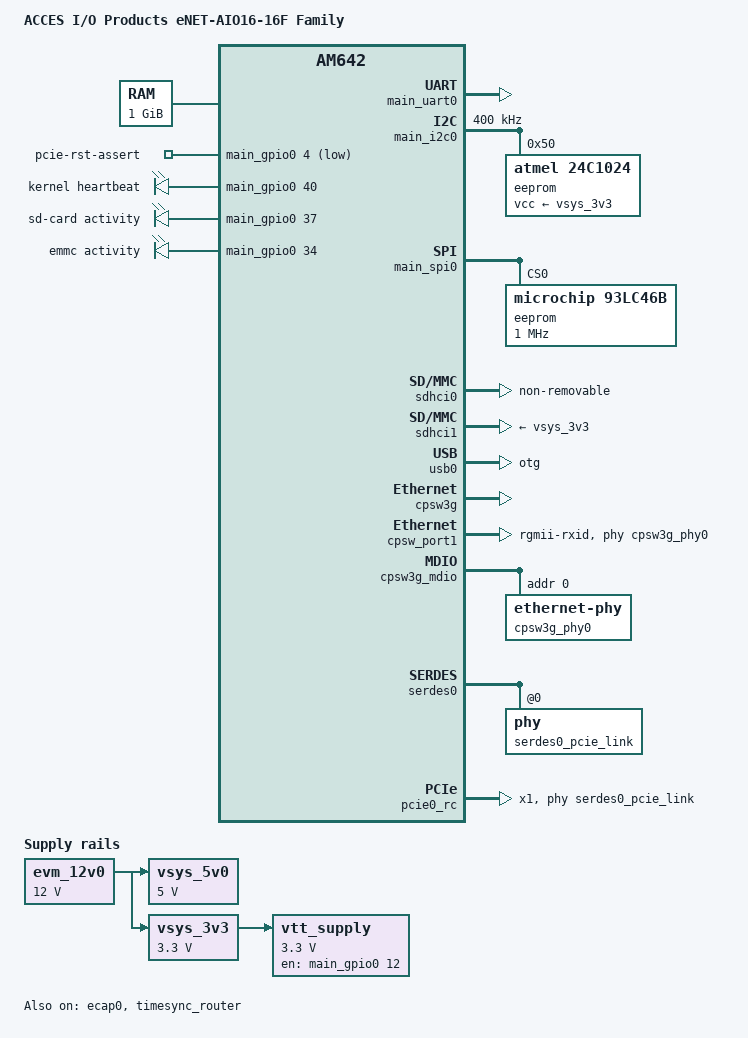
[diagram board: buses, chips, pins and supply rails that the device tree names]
// SPDX-License-Identifier: GPL-2.0-only OR MIT
/*
 * Copyright (C) 2020-2024 Texas Instruments Incorporated - https://www.ti.com/
 */

/dts-v1/;

#include <dt-bindings/gpio/gpio.h>
#include <dt-bindings/leds/common.h>
#include <dt-bindings/phy/phy.h>
#include "k3-am642.dtsi"

#include "k3-serdes.h"
#include "k3-timesync-router.h"

/ {
	compatible = "ti,am642-evm", "ti,am642";
	model = "ACCES I/O Products eNET-AIO16-16F Family";

	chosen {
		stdout-path = &main_uart0;
	};

	aliases {
		serial0 = &mcu_uart0;
		serial1 = &main_uart1;
		serial2 = &main_uart0;
		serial3 = &main_uart3;
		i2c0 = &main_i2c0;
		mmc0 = &sdhci0;
		mmc1 = &sdhci1;
		ethernet0 = &cpsw_port1;
	};

	memory@80000000 {
		bootph-all;
		device_type = "memory";
		/* One AS4C512M16D4: 512M x 16 bits = 1 GiB. */
		reg = <0x00000000 0x80000000 0x00000000 0x40000000>;
	};

	reserved_memory: reserved-memory {
		#address-cells = <2>;
		#size-cells = <2>;
		ranges;

		secure_ddr: optee@9e800000 {
			reg = <0x00 0x9e800000 0x00 0x01800000>;
			alignment = <0x1000>;
			no-map;
		};
	};

	evm_12v0: regulator-0 {
		bootph-all;
		compatible = "regulator-fixed";
		regulator-name = "evm_12v0";
		regulator-min-microvolt = <12000000>;
		regulator-max-microvolt = <12000000>;
		regulator-always-on;
		regulator-boot-on;
	};

	vsys_5v0: regulator-1 {
		compatible = "regulator-fixed";
		regulator-name = "vsys_5v0";
		regulator-min-microvolt = <5000000>;
		regulator-max-microvolt = <5000000>;
		vin-supply = <&evm_12v0>;
		regulator-always-on;
		regulator-boot-on;
	};

	vsys_3v3: regulator-2 {
		bootph-all;
		compatible = "regulator-fixed";
		regulator-name = "vsys_3v3";
		regulator-min-microvolt = <3300000>;
		regulator-max-microvolt = <3300000>;
		vin-supply = <&evm_12v0>;
		regulator-always-on;
		regulator-boot-on;
	};

	vtt_supply: regulator-5 {
		bootph-all;
		compatible = "regulator-fixed";
		regulator-name = "vtt";
		pinctrl-names = "default";
		pinctrl-0 = <&ddr_vtt_pins_default>;
		regulator-min-microvolt = <3300000>;
		regulator-max-microvolt = <3300000>;
		gpio = <&main_gpio0 12 GPIO_ACTIVE_HIGH>;
		enable-active-high;
		vin-supply = <&vsys_3v3>;
		regulator-always-on;
		regulator-boot-on;
	};

	/* Experimental manual PCIe reset control. This consumes OSPI0_D1. */
	pcie_rst_test_gpio {
		compatible = "gpio-leds";
		pinctrl-names = "default";
		pinctrl-0 = <&pcie_rst_test_pins_default>;

		pcie_rst_assert {
			label = "pcie-rst-assert";
			gpios = <&main_gpio0 4 (GPIO_ACTIVE_LOW | GPIO_OPEN_DRAIN)>;
			default-state = "on";
		};
	};

	leds {
		compatible = "gpio-leds";
		pinctrl-names = "default";
		pinctrl-0 = <&user_leds_pins_default>;

		led-0 {
			label = "kernel heartbeat";
			gpios = <&main_gpio0 40 GPIO_ACTIVE_HIGH>;
			linux,default-trigger = "heartbeat";
			function = LED_FUNCTION_HEARTBEAT;
			default-state = "off";
		};

		led-1 {
			label = "sd-card activity";
			gpios = <&main_gpio0 37 GPIO_ACTIVE_HIGH>;
			linux,default-trigger = "mmc1";
			function = LED_FUNCTION_SD;
			default-state = "off";
		};

		led-2 {
			label = "emmc activity";
			gpios = <&main_gpio0 34 GPIO_ACTIVE_HIGH>;
			linux,default-trigger = "mmc0";
			function = LED_FUNCTION_DISK_ACTIVITY;
			default-state = "off";
		};
	};

};

&main_pmx0 {
	pcie_rst_test_pins_default: pcie-rst-test-default-pins {
		pinctrl-single,pins = <
			AM64X_IOPAD(0x0010, PIN_INPUT_PULLUP, 7) /* (M18) OSPI0_D1.GPIO0_4 */
		>;
	};

	main_mmc1_pins_default: main-mmc1-default-pins {
		pinctrl-single,pins = <
			AM64X_IOPAD(0x0294, PIN_INPUT_PULLUP, 0) /* (J19) MMC1_CMD */
			AM64X_IOPAD(0x028c, PIN_INPUT_PULLDOWN, 0) /* (L20) MMC1_CLK */
			AM64X_IOPAD(0x0288, PIN_INPUT_PULLUP, 0) /* (K21) MMC1_DAT0 */
			AM64X_IOPAD(0x0284, PIN_INPUT_PULLUP, 0) /* (L21) MMC1_DAT1 */
			AM64X_IOPAD(0x0280, PIN_INPUT_PULLUP, 0) /* (K19) MMC1_DAT2 */
			AM64X_IOPAD(0x027c, PIN_INPUT_PULLUP, 0) /* (K18) MMC1_DAT3 */
			AM64X_IOPAD(0x0298, PIN_INPUT_PULLUP, 0) /* (D19) MMC1_SDCD */
			AM64X_IOPAD(0x029c, PIN_INPUT, 0) /* (C20) MMC1_SDWP */
			AM64X_IOPAD(0x0290, PIN_INPUT, 0) /* MMC1_CLKLB */
		>;
	};

	main_uart1_pins_default: main-uart1-default-pins {
		pinctrl-single,pins = <
			AM64X_IOPAD(0x0248, PIN_INPUT, 0) /* (D16) UART1_CTSn */
			AM64X_IOPAD(0x024c, PIN_OUTPUT, 0) /* (E16) UART1_RTSn */
			AM64X_IOPAD(0x0240, PIN_INPUT, 0) /* (E15) UART1_RXD */
			AM64X_IOPAD(0x0244, PIN_OUTPUT, 0) /* (E14) UART1_TXD */
		>;
	};

	main_uart0_pins_default: main-uart0-default-pins {
		bootph-all;
		pinctrl-single,pins = <
			AM64X_IOPAD(0x0238, PIN_INPUT, 0) /* (B16) UART0_CTSn */
			AM64X_IOPAD(0x023c, PIN_OUTPUT, 0) /* (A16) UART0_RTSn */
			AM64X_IOPAD(0x0230, PIN_INPUT, 0) /* (D15) UART0_RXD */
			AM64X_IOPAD(0x0234, PIN_OUTPUT, 0) /* (C16) UART0_TXD */
		>;
	};

	main_spi0_pins_default: main-spi0-default-pins {
		pinctrl-single,pins = <
			AM64X_IOPAD(0x0210, PIN_INPUT, 0) /* (D13) SPI0_CLK */
			AM64X_IOPAD(0x0208, PIN_OUTPUT, 0) /* (D12) SPI0_CS0 */
			AM64X_IOPAD(0x0214, PIN_OUTPUT, 0) /* (A13) SPI0_D0 */
			AM64X_IOPAD(0x0218, PIN_INPUT, 0) /* (A14) SPI0_D1 */
		>;
	};

	main_i2c0_pins_default: main-i2c0-default-pins {
		bootph-all;
		pinctrl-single,pins = <
			AM64X_IOPAD(0x0260, PIN_INPUT_PULLUP, 0) /* (A18) I2C0_SCL */
			AM64X_IOPAD(0x0264, PIN_INPUT_PULLUP, 0) /* (B18) I2C0_SDA */
		>;
	};

	mdio1_pins_default: mdio1-default-pins {
		bootph-all;
		pinctrl-single,pins = <
			AM64X_IOPAD(0x01fc, PIN_OUTPUT, 4) /* (R2) PRG0_PRU1_GPO19.MDIO0_MDC */
			AM64X_IOPAD(0x01f8, PIN_INPUT, 4) /* (P5) PRG0_PRU1_GPO18.MDIO0_MDIO */
		>;
	};

	rgmii1_pins_default: rgmii1-default-pins {
		bootph-all;
		pinctrl-single,pins = <
			AM64X_IOPAD(0x01cc, PIN_INPUT, 4) /* (W5) PRG0_PRU1_GPO7.RGMII1_RD0 */
			AM64X_IOPAD(0x01d4, PIN_INPUT, 4) /* (Y5) PRG0_PRU1_GPO9.RGMII1_RD1 */
			AM64X_IOPAD(0x01d8, PIN_INPUT, 4) /* (V6) PRG0_PRU1_GPO10.RGMII1_RD2 */
			AM64X_IOPAD(0x01f4, PIN_INPUT, 4) /* (V5) PRG0_PRU1_GPO17.RGMII1_RD3 */
			AM64X_IOPAD(0x0188, PIN_INPUT, 4) /* (AA5) PRG0_PRU0_GPO10.RGMII1_RXC */
			AM64X_IOPAD(0x0184, PIN_INPUT, 4) /* (W6) PRG0_PRU0_GPO9.RGMII1_RX_CTL */
			AM64X_IOPAD(0x0124, PIN_OUTPUT, 4) /* (V15) PRG1_PRU1_GPO7.RGMII1_TD0 */
			AM64X_IOPAD(0x012c, PIN_OUTPUT, 4) /* (V14) PRG1_PRU1_GPO9.RGMII1_TD1 */
			AM64X_IOPAD(0x0130, PIN_OUTPUT, 4) /* (W14) PRG1_PRU1_GPO10.RGMII1_TD2 */
			AM64X_IOPAD(0x014c, PIN_OUTPUT, 4) /* (AA14) PRG1_PRU1_GPO17.RGMII1_TD3 */
			AM64X_IOPAD(0x00e0, PIN_OUTPUT, 4) /* (U14) PRG1_PRU0_GPO10.RGMII1_TXC */
			AM64X_IOPAD(0x00dc, PIN_OUTPUT, 4) /* (U15) PRG1_PRU0_GPO9.RGMII1_TX_CTL */
		>;
	};

	main_usb0_pins_default: main-usb0-default-pins {
		bootph-all;
		pinctrl-single,pins = <
			AM64X_IOPAD(0x02a8, PIN_OUTPUT, 0) /* (E19) USB0_DRVVBUS */
		>;
	};

	ospi0_pins_default: ospi0-default-pins {
		bootph-all;
		pinctrl-single,pins = <
			AM64X_IOPAD(0x0000, PIN_OUTPUT, 0) /* (N20) OSPI0_CLK */
			AM64X_IOPAD(0x002c, PIN_OUTPUT, 0) /* (L19) OSPI0_CSn0 */
			AM64X_IOPAD(0x000c, PIN_INPUT, 0) /* (M19) OSPI0_D0 */
			AM64X_IOPAD(0x0010, PIN_INPUT, 0) /* (M18) OSPI0_D1 */
			AM64X_IOPAD(0x0014, PIN_INPUT, 0) /* (M20) OSPI0_D2 */
			AM64X_IOPAD(0x0018, PIN_INPUT, 0) /* (M21) OSPI0_D3 */
			AM64X_IOPAD(0x001c, PIN_INPUT, 0) /* (P21) OSPI0_D4 */
			AM64X_IOPAD(0x0020, PIN_INPUT, 0) /* (P20) OSPI0_D5 */
			AM64X_IOPAD(0x0024, PIN_INPUT, 0) /* (N18) OSPI0_D6 */
			AM64X_IOPAD(0x0028, PIN_INPUT, 0) /* (M17) OSPI0_D7 */
			AM64X_IOPAD(0x0008, PIN_INPUT, 0) /* (N19) OSPI0_DQS */
		>;
	};

	main_ecap0_pins_default: main-ecap0-default-pins {
		pinctrl-single,pins = <
			AM64X_IOPAD(0x0270, PIN_INPUT, 0) /* (D18) ECAP0_IN_APWM_OUT */
		>;
	};

	ddr_vtt_pins_default: ddr-vtt-default-pins {
		bootph-all;
		pinctrl-single,pins = <
			AM64X_IOPAD(0x0030, PIN_OUTPUT_PULLUP, 7) /* (L18) OSPI0_CSN1.GPIO0_12 */
		>;
	};

	user_leds_pins_default: user-leds-default-pins {
		pinctrl-single,pins = <
			AM64X_IOPAD(0x008c, PIN_OUTPUT, 7) /* (T21) GPMC0_WEn.GPIO0_34 */
			AM64X_IOPAD(0x0098, PIN_OUTPUT, 7) /* (W19) GPMC0_WAIT0.GPIO0_37 */
			AM64X_IOPAD(0x00a4, PIN_OUTPUT, 7) /* (N17) GPMC0_DIR.GPIO0_40 */
		>;
	};

};

&fss {
	bootph-all;
};

&main_uart0 {
	bootph-all;
	status = "okay";
	pinctrl-names = "default";
	pinctrl-0 = <&main_uart0_pins_default>;
};

/* UART1 is reserved for board-specific firmware use. */
&main_uart1 {
	status = "reserved";
	pinctrl-names = "default";
	pinctrl-0 = <&main_uart1_pins_default>;
};

&main_i2c0 {
	bootph-all;
	status = "okay";
	pinctrl-names = "default";
	pinctrl-0 = <&main_i2c0_pins_default>;
	clock-frequency = <400000>;

	eeprom@50 {
		compatible = "atmel,24c1024";
		reg = <0x50>;
		vcc-supply = <&vsys_3v3>;
	};
};

&main_i2c1 {
	status = "disabled";
};

&main_gpio0 {
	bootph-all;
	status = "okay";
};

/* MCU-domain GPIO is unused. */
&mcu_gpio0 {
	status = "disabled";
};

&mcu_gpio_intr {
	status = "disabled";
};

&main_spi0 {
	status = "okay";
	pinctrl-names = "default";
	pinctrl-0 = <&main_spi0_pins_default>;
	ti,pindir-d0-out-d1-in;

	eeprom@0 {
		compatible = "microchip,93lc46b";
		reg = <0>;
		spi-max-frequency = <1000000>;
		spi-cs-high;
		data-size = <16>;
	};
};

/* eMMC */
&sdhci0 {
	bootph-all;
	status = "okay";
	non-removable;
	ti,driver-strength-ohm = <50>;
};

&main_r5fss0 {
	status = "disabled";
};

&main_r5fss1 {
	status = "disabled";
};
&icssg0 {
	status = "disabled";
};

&icssg1 {
	status = "disabled";
};

/* SD card */
&sdhci1 {
	bootph-all;
	status = "okay";
	vmmc-supply = <&vsys_3v3>;
	pinctrl-names = "default";
	pinctrl-0 = <&main_mmc1_pins_default>;
	disable-wp;
};

&usbss0 {
	bootph-all;
	ti,vbus-divider;
	ti,usb2-only;
};

&usb0 {
	bootph-all;
	dr_mode = "otg";
	maximum-speed = "high-speed";
	pinctrl-names = "default";
	pinctrl-0 = <&main_usb0_pins_default>;
};

&cpsw3g {
	bootph-all;
	status = "okay";
	pinctrl-names = "default";
	pinctrl-0 = <&rgmii1_pins_default>;

	/* Map HW8_TS_PUSH to GENF1. */
	cpts@3d000 {
		ti,pps = <7 1>;
	};
};

&cpsw_port1 {
	bootph-all;
	phy-mode = "rgmii-rxid";
	phy-handle = <&cpsw3g_phy0>;
	status = "okay";
};

&cpsw3g_mdio {
	bootph-all;
	status = "okay";
	pinctrl-names = "default";
	pinctrl-0 = <&mdio1_pins_default>;

	cpsw3g_phy0: ethernet-phy@0 {
		bootph-all;
		reg = <0>;
	};
};

&tscadc0 {
	status = "disabled";
};

/* Disabled while GPIO0_4 is used for the experimental PCIe reset control. */
&ospi0 {
	bootph-all;
	status = "disabled";
	pinctrl-names = "default";
	pinctrl-0 = <&ospi0_pins_default>;

	flash@0 {
		bootph-all;
		compatible = "jedec,spi-nor";
		reg = <0>;
		spi-tx-bus-width = <8>;
		spi-rx-bus-width = <8>;
		spi-max-frequency = <25000000>;
		cdns,tshsl-ns = <60>;
		cdns,tsd2d-ns = <60>;
		cdns,tchsh-ns = <60>;
		cdns,tslch-ns = <60>;
		cdns,read-delay = <4>;
		cdns,phy-mode;

		partitions {
			bootph-all;
			compatible = "fixed-partitions";
			#address-cells = <1>;
			#size-cells = <1>;

			partition@0 {
				label = "ospi.tiboot3";
				reg = <0x0000000 0x0100000>;
			};

			partition@100000 {
				label = "ospi.tispl";
				reg = <0x0100000 0x0200000>;
			};

			partition@300000 {
				label = "ospi.u-boot";
				reg = <0x0300000 0x0400000>;
			};

			partition@700000 {
				label = "ospi.env";
				reg = <0x0700000 0x0040000>;
			};

			partition@740000 {
				label = "ospi.env.backup";
				reg = <0x0740000 0x0040000>;
			};

			partition@800000 {
				label = "ospi.rootfs";
				reg = <0x0800000 0x37c0000>;
			};

			partition@3fc0000 {
				bootph-all;
				label = "ospi.phypattern";
				reg = <0x3fc0000 0x0040000>;
			};
		};
	};
};

/* The board does not use the R5F or M4F application cores. */
&mailbox0_cluster2 {
	status = "disabled";
};

&mailbox0_cluster4 {
	status = "disabled";
};

&mailbox0_cluster6 {
	status = "disabled";
};

&main_r5fss0_core0 {
	status = "disabled";
};

&main_r5fss0_core1 {
	status = "disabled";
};

&main_r5fss1_core0 {
	status = "disabled";
};

&main_r5fss1_core1 {
	status = "disabled";
};

&mcu_m4fss {
	status = "disabled";
};

&serdes_ln_ctrl {
	idle-states = <AM64_SERDES0_LANE0_PCIE0>;
};

&serdes0 {
	serdes0_pcie_link: phy@0 {
		reg = <0>;
		cdns,num-lanes = <1>;
		#phy-cells = <0>;
		cdns,phy-type = <PHY_TYPE_PCIE>;
		resets = <&serdes_wiz0 1>;
	};
};

&pcie0_rc {
	status = "okay";
	phys = <&serdes0_pcie_link>;
	phy-names = "pcie-phy";
	num-lanes = <1>;
};

&ecap0 {
	status = "okay";
	pinctrl-names = "default";
	pinctrl-0 = <&main_ecap0_pins_default>;
};

&timesync_router {
	/* Map CPSW CPTS GENF1 (input 22) to CPSW HW8_TS_PUSH (output 37). */
	mux-reg-masks-state = <
		K3_TS_OFFSET(37, 0x0001ffff, 22)
	>;
	status = "okay";
};

&main_cpts0 {
	/* Generate PPS events from NAVSS CPTS HW8_TS_PUSH. */
	ti,pps = <7 1>;
};
